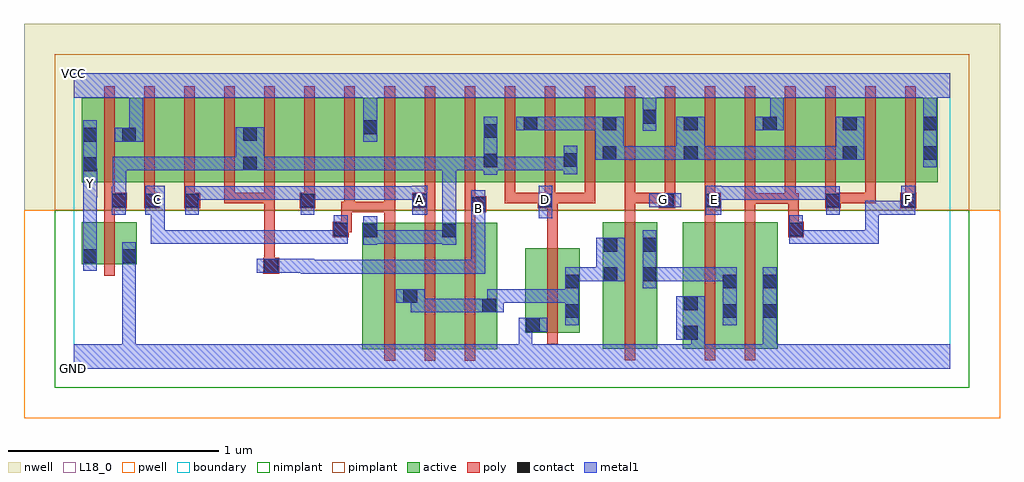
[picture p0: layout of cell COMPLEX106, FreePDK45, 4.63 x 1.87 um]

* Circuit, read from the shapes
.subckt COMPLEX106 A B C D E F G GND VCC Y
M1 GND n1 Y VSUBS nfet w=0.2u l=0.05u
M2 n2 C n1 VSUBS nfet w=0.6u l=0.05u
M3 n1 A n2 VSUBS nfet w=0.6u l=0.05u
M4 n2 B n1 VSUBS nfet w=0.6u l=0.05u
M5 n2 D GND VSUBS nfet w=0.4u l=0.05u
M6 n3 G n2 VSUBS nfet w=0.6u l=0.05u
M7 n3 E GND VSUBS nfet w=0.6u l=0.05u
M8 GND F n3 VSUBS nfet w=0.6u l=0.05u
M9 VCC n1 Y n4 pfet w=0.4u l=0.05u
M10 n5 C VCC n4 pfet w=0.4u l=0.05u
M11 n6 A n5 n4 pfet w=0.4u l=0.05u
M12 n1 B n6 n4 pfet w=0.4u l=0.05u
M13 n7 B n1 n4 pfet w=0.4u l=0.05u
M14 n8 A n7 n4 pfet w=0.4u l=0.05u
M15 VCC C n8 n4 pfet w=0.4u l=0.05u
M16 n9 C VCC n4 pfet w=0.4u l=0.05u
M17 n10 A n9 n4 pfet w=0.4u l=0.05u
M18 n1 B n10 n4 pfet w=0.4u l=0.05u
M19 n11 D n1 n4 pfet w=0.4u l=0.05u m=3
M20 VCC G n11 n4 pfet w=0.4u l=0.05u m=2
M21 n12 E n11 n4 pfet w=0.4u l=0.05u
M22 VCC F n12 n4 pfet w=0.4u l=0.05u
M23 n13 F VCC n4 pfet w=0.4u l=0.05u
M24 n11 E n13 n4 pfet w=0.4u l=0.05u
M25 n14 E n11 n4 pfet w=0.4u l=0.05u
M26 VCC F n14 n4 pfet w=0.4u l=0.05u
.ends

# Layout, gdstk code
import gdstk
lib = gdstk.Library(unit=1e-6, precision=1e-09)
def R(c, l, rs):  # rectangles x0, y0, x1, y1
    for r in rs: c.add(gdstk.rectangle(r[:2], r[2:], *l))
def A(c, l, x, y, w, h, nx, ny, dx, dy):  # array of equal rectangles
    R(c, l, [(x+i*dx, y+j*dy, x+i*dx+w, y+j*dy+h) for i in range(nx) for j in range(ny)])
active = (1, 0)
pwell = (2, 0)
nwell = (3, 0)
nimplant = (4, 0)
pimplant = (5, 0)
poly = (9, 0)
contact = (10, 0)
metal1 = (11, 0)
L18_0 = (18, 0)
boundary = (235, 0)

complex106 = lib.new_cell('COMPLEX106')
A(complex106, active, 0.455, 0.885, 0.19, 0.4, 3, 1, 0.57, 0)
A(complex106, active, 0.645, 0.885, 0.23, 0.4, 3, 1, 0.57, 0)
A(complex106, active, 3.115, 0.885, 0.225, 0.4, 3, 1, 0.38, 0)
R(complex106, active, [(1.37,0.092,1.635,0.692), (1.56,0.092,1.82,0.692), (1.745,0.092,2.01,0.692), (1.37,0.095,1.445,0.692), (1.56,0.095,1.635,0.647), (1.745,0.095,1.82,0.692), (1.935,0.095,2.01,0.692), (2.51,0.095,2.585,0.695), (2.51,0.095,2.77,0.695), (2.695,0.095,2.77,0.695), (2.89,0.095,2.965,0.695), (2.89,0.095,3.15,0.695), (3.075,0.095,3.34,0.695), (3.075,0.095,3.15,0.692), (3.265,0.095,3.34,0.695), (2.142,0.17,2.402,0.57), (2.142,0.17,2.217,0.57), (2.327,0.235,2.402,0.57), (0.04,0.495,0.115,0.695), (0.04,0.495,0.3,0.695), (0.225,0.495,0.3,0.695), (0.04,0.885,0.3,1.285), (0.04,0.885,0.115,1.2), (0.225,0.885,0.455,1.285), (0.8,0.885,1.025,1.285), (1.37,0.885,1.595,1.285), (1.94,0.885,2.205,1.285), (2.13,0.885,2.395,1.285), (2.32,0.885,2.58,1.285), (2.505,0.885,2.77,1.285), (2.695,0.885,2.965,1.285), (2.89,0.885,3.115,1.285), (3.265,0.885,3.495,1.285), (3.645,0.885,3.875,1.285), (4.025,0.885,4.1,1.205), (0.225,0.907,0.3,1.205), (0.8,0.907,0.875,1.2), (1.37,0.907,1.445,1.242), (1.94,0.907,2.015,1.2), (2.13,0.907,2.205,1.2), (2.32,0.907,2.395,1.07), (2.505,0.907,2.58,1.2), (2.695,0.907,2.77,1.267), (2.89,0.907,2.965,1.2), (3.265,0.907,3.34,1.242), (3.645,0.907,3.72,1.2)])
R(complex106, pwell, [(-0.235,-0.235,4.395,0.75)])
R(complex106, nwell, [(-0.235,0.75,4.395,1.635)])
R(complex106, nimplant, [(-0.09,-0.09,4.25,0.75)])
R(complex106, pimplant, [(-0.09,0.75,4.25,1.49)])
A(complex106, poly, 1.475, 0.037, 0.05, 0.71, 3, 1, 0.19, 0)
A(complex106, poly, 0.145, 0.785, 0.05, 0.095, 6, 1, 0.19, 0)
A(complex106, poly, 2.045, 0.785, 0.05, 0.095, 6, 1, 0.19, 0)
A(complex106, poly, 3.565, 0.785, 0.05, 0.095, 3, 1, 0.19, 0)
A(complex106, poly, 0.145, 0.83, 0.05, 0.51, 21, 1, 0.19, 0)
R(complex106, poly, [(2.615,0.04,2.665,0.75), (2.995,0.04,3.045,0.75), (3.185,0.04,3.235,0.75), (2.247,0.115,2.297,0.625), (0.145,0.44,0.195,0.75), (0.9,0.45,0.975,0.525), (0.905,0.475,0.955,0.835), (2.247,0.575,2.297,0.81), (1.23,0.622,1.305,0.697), (3.39,0.622,3.465,0.697), (1.255,0.647,1.305,0.697), (1.255,0.647,1.32,0.697), (1.27,0.647,1.32,0.792), (3.39,0.647,3.44,0.832), (1.475,0.697,1.525,0.792), (1.665,0.697,1.715,0.81), (1.855,0.697,1.905,0.792), (0.145,0.7,0.195,0.81), (2.615,0.7,2.665,0.835), (2.995,0.7,3.045,0.81), (3.185,0.7,3.235,0.832), (1.27,0.742,1.335,0.792), (1.285,0.742,1.335,0.792), (1.285,0.742,1.335,0.792), (1.285,0.742,1.525,0.792), (1.285,0.742,1.335,0.88), (1.475,0.742,1.525,0.792), (1.475,0.742,1.525,0.88), (1.855,0.742,1.957,0.817), (0.145,0.76,0.252,0.835), (0.335,0.76,0.41,0.835), (0.525,0.76,0.6,0.835), (1.072,0.76,1.147,0.835), (1.607,0.76,1.715,0.835), (2.202,0.76,2.297,0.835), (2.777,0.76,2.855,0.835), (2.995,0.76,3.07,0.835), (3.565,0.76,3.64,0.835), (3.922,0.76,3.997,0.835), (1.855,0.767,1.905,0.88), (3.185,0.782,3.235,0.832), (3.185,0.782,3.235,0.88), (3.185,0.782,3.425,0.832), (3.375,0.782,3.425,0.832), (3.375,0.782,3.425,0.832), (3.375,0.782,3.425,0.88), (3.375,0.782,3.44,0.832), (3.39,0.782,3.44,0.832), (3.39,0.782,3.44,0.832), (0.715,0.785,0.765,0.835), (0.715,0.785,0.765,0.835), (0.715,0.785,0.765,0.835), (0.715,0.785,0.955,0.835), (0.905,0.785,0.955,0.835), (0.905,0.785,0.955,0.835), (0.905,0.785,0.955,0.835), (1.665,0.785,1.715,0.88), (2.045,0.785,2.095,0.835), (2.045,0.785,2.095,0.835), (2.045,0.785,2.095,0.835), (2.045,0.785,2.252,0.835), (2.247,0.785,2.475,0.835), (2.425,0.785,2.475,0.835), (2.425,0.785,2.475,0.835), (2.425,0.785,2.475,0.835), (2.615,0.785,2.665,0.835), (2.615,0.785,2.827,0.835), (2.777,0.785,2.827,0.835), (2.777,0.785,2.827,0.835), (3.59,0.785,3.805,0.835), (3.59,0.785,3.64,0.835), (3.59,0.785,3.64,0.835), (3.755,0.785,3.805,0.835)])
A(complex106, contact, 3.27, 1.13, 0.065, 0.065, 3, 1, 0.38, 0)
R(complex106, contact, [(2.895,0.137,2.96,0.202), (2.147,0.175,2.212,0.24), (2.332,0.24,2.397,0.305), (3.08,0.24,3.145,0.305), (3.27,0.24,3.335,0.305), (1.94,0.267,2.005,0.332), (2.895,0.277,2.96,0.342), (1.565,0.312,1.63,0.377), (2.332,0.38,2.397,0.445), (3.08,0.38,3.145,0.445), (3.27,0.38,3.335,0.445), (2.515,0.415,2.58,0.48), (2.7,0.415,2.765,0.48), (0.905,0.455,0.97,0.52), (0.045,0.5,0.11,0.565), (0.23,0.5,0.295,0.565), (2.515,0.555,2.58,0.62), (2.7,0.555,2.765,0.62), (1.375,0.622,1.44,0.687), (1.75,0.622,1.815,0.687), (1.235,0.627,1.3,0.692), (3.395,0.627,3.46,0.692), (1.887,0.747,1.952,0.812), (0.182,0.765,0.247,0.83), (0.34,0.765,0.405,0.83), (0.53,0.765,0.595,0.83), (1.077,0.765,1.142,0.83), (1.612,0.765,1.677,0.83), (2.207,0.765,2.272,0.83), (2.782,0.765,2.847,0.83), (3,0.765,3.065,0.83), (3.57,0.765,3.635,0.83), (3.927,0.765,3.992,0.83), (0.045,0.937,0.11,1.002), (0.805,0.94,0.87,1.005), (1.945,0.955,2.01,1.02), (2.325,0.957,2.39,1.022), (2.51,0.99,2.575,1.055), (2.895,0.99,2.96,1.055), (3.65,0.99,3.715,1.055), (4.03,0.99,4.095,1.055), (0.045,1.077,0.11,1.142), (0.23,1.077,0.295,1.142), (0.805,1.08,0.87,1.145), (1.945,1.095,2.01,1.16), (1.375,1.112,1.44,1.177), (2.135,1.13,2.2,1.195), (2.51,1.13,2.575,1.195), (2.895,1.13,2.96,1.195), (2.7,1.162,2.765,1.227)])
R(complex106, metal1, [(0,0,4.16,0.115), (0.23,0.05,0.295,0.115), (0.23,0.05,0.295,0.115), (0.23,0.05,0.295,0.115), (0.23,0.05,0.295,0.115), (0.23,0.05,0.295,0.115), (0.23,0.05,0.295,0.115), (0.23,0.05,0.295,0.53), (2.112,0.05,2.177,0.115), (2.112,0.05,2.177,0.115), (2.112,0.05,2.177,0.24), (2.93,0.05,2.995,0.202), (3.27,0.05,3.335,0.27), (2.86,0.137,2.995,0.342), (2.112,0.175,2.247,0.24), (2.332,0.205,2.397,0.48), (3.08,0.205,3.145,0.48), (3.27,0.205,3.335,0.48), (1.6,0.267,1.815,0.332), (1.6,0.267,1.665,0.377), (1.75,0.267,1.815,0.332), (1.75,0.267,1.815,0.332), (1.75,0.267,1.815,0.332), (1.75,0.267,1.97,0.332), (1.905,0.267,2.04,0.332), (1.962,0.267,2.027,0.377), (1.53,0.312,1.665,0.377), (1.6,0.312,1.665,0.377), (1.962,0.312,2.027,0.377), (1.962,0.312,2.09,0.377), (2.025,0.312,2.227,0.377), (2.025,0.312,2.09,0.377), (2.162,0.312,2.227,0.377), (2.162,0.312,2.227,0.377), (2.162,0.312,2.227,0.377), (2.162,0.312,2.227,0.377), (2.162,0.312,2.227,0.377), (2.162,0.312,2.227,0.377), (2.162,0.312,2.227,0.377), (2.162,0.312,2.397,0.377), (2.7,0.38,2.765,0.655), (2.332,0.415,2.51,0.48), (2.445,0.415,2.545,0.48), (2.445,0.415,2.51,0.48), (2.48,0.415,2.615,0.62), (2.7,0.415,2.927,0.48), (2.862,0.415,2.927,0.48), (2.862,0.415,2.927,0.48), (2.862,0.415,2.927,0.48), (2.862,0.415,3.145,0.48), (3.08,0.415,3.145,0.48), (3.08,0.415,3.145,0.48), (1.077,0.45,1.142,0.515), (1.077,0.45,1.142,0.515), (1.077,0.45,1.142,0.515), (1.077,0.45,1.3,0.515), (1.077,0.45,1.142,0.52), (1.235,0.45,1.3,0.515), (1.235,0.45,1.302,0.515), (1.237,0.45,1.302,0.515), (1.237,0.45,1.457,0.515), (1.392,0.45,1.457,0.515), (1.392,0.45,1.457,0.515), (1.392,0.45,1.457,0.515), (1.392,0.45,1.677,0.515), (1.612,0.45,1.677,0.515), (1.612,0.45,1.677,0.515), (1.612,0.45,1.677,0.515), (1.612,0.45,1.815,0.515), (1.75,0.45,1.815,0.515), (1.75,0.45,1.815,0.515), (1.75,0.45,1.815,0.515), (1.75,0.45,1.915,0.515), (1.85,0.45,1.915,0.515), (1.85,0.45,1.952,0.515), (1.887,0.45,1.952,0.515), (1.887,0.45,1.952,0.757), (0.87,0.455,1.005,0.52), (0.94,0.455,1.142,0.52), (1.077,0.455,1.142,0.52), (0.045,0.465,0.11,0.6), (0.23,0.465,0.295,0.6), (0.045,0.535,0.11,0.877), (1.375,0.587,1.44,0.722), (1.75,0.587,1.815,0.722), (0.367,0.592,0.432,0.657), (0.367,0.592,0.432,0.795), (0.367,0.592,0.595,0.657), (0.53,0.592,0.732,0.657), (0.53,0.592,0.595,0.657), (0.53,0.592,0.595,0.657), (0.53,0.592,0.595,0.657), (0.667,0.592,0.732,0.657), (0.667,0.592,0.905,0.657), (0.84,0.592,0.905,0.657), (0.84,0.592,0.905,0.657), (0.84,0.592,0.905,0.657), (0.84,0.592,1.162,0.657), (1.097,0.592,1.162,0.657), (1.097,0.592,1.162,0.657), (1.097,0.592,1.162,0.657), (1.097,0.592,1.3,0.657), (1.235,0.592,1.3,0.657), (1.235,0.592,1.3,0.657), (1.235,0.592,1.3,0.657), (1.235,0.592,1.3,0.657), (1.235,0.592,1.3,0.727), (1.375,0.592,1.44,0.657), (1.375,0.592,1.44,0.657), (1.375,0.592,1.595,0.657), (1.53,0.592,1.595,0.657), (1.53,0.592,1.595,0.657), (1.53,0.592,1.595,0.657), (1.53,0.592,1.815,0.657), (3.395,0.592,3.597,0.657), (3.395,0.592,3.46,0.657), (3.395,0.592,3.46,0.657), (3.395,0.592,3.46,0.657), (3.395,0.592,3.46,0.657), (3.395,0.592,3.46,0.727), (3.532,0.592,3.597,0.657), (3.532,0.592,3.82,0.657), (3.755,0.592,3.82,0.657), (3.755,0.592,3.82,0.795), (1.75,0.657,1.815,1.005), (1.887,0.692,1.952,0.757), (1.887,0.692,1.952,0.757), (1.887,0.692,1.952,0.757), (1.887,0.692,1.952,0.757), (1.887,0.692,1.952,0.847), (2.207,0.712,2.272,0.867), (0.182,0.73,0.247,0.865), (0.34,0.73,0.432,0.867), (0.367,0.73,0.432,0.795), (0.367,0.73,0.432,0.795), (0.53,0.73,0.595,0.865), (1.077,0.73,1.142,0.865), (1.607,0.73,1.677,0.867), (3,0.73,3.072,0.867), (3.57,0.73,3.635,0.865), (3.755,0.73,3.957,0.795), (3.755,0.73,3.82,0.795), (3.755,0.73,3.82,0.795), (3.755,0.73,3.82,0.795), (3.892,0.73,3.992,0.795), (3.892,0.73,3.957,0.795), (3.927,0.73,3.992,0.867), (2.732,0.765,2.882,0.832), (0.182,0.8,0.25,0.865), (0.185,0.8,0.25,0.865), (0.185,0.8,0.25,1.005), (0.53,0.8,0.595,0.865), (0.53,0.8,0.595,0.865), (0.53,0.8,0.767,0.865), (0.702,0.8,0.767,0.865), (0.702,0.8,0.767,0.865), (0.702,0.8,0.767,0.865), (0.702,0.8,0.905,0.865), (0.84,0.8,0.905,0.865), (0.84,0.8,1.142,0.865), (1.077,0.8,1.142,0.865), (1.077,0.8,1.142,0.865), (1.077,0.8,1.302,0.865), (1.237,0.8,1.302,0.865), (1.237,0.8,1.302,0.865), (1.237,0.8,1.302,0.865), (1.237,0.8,1.44,0.865), (1.375,0.8,1.44,0.865), (1.375,0.8,1.44,0.865), (1.375,0.8,1.44,0.865), (1.375,0.8,1.672,0.865), (1.607,0.8,1.672,0.865), (1.607,0.8,1.672,0.865), (3.007,0.8,3.132,0.865), (3.067,0.8,3.132,0.865), (3.067,0.8,3.282,0.865), (3.217,0.8,3.282,0.865), (3.217,0.8,3.282,0.865), (3.217,0.8,3.282,0.865), (3.217,0.8,3.42,0.865), (3.355,0.8,3.42,0.865), (3.355,0.8,3.42,0.865), (3.355,0.8,3.42,0.865), (3.355,0.8,3.635,0.865), (0.045,0.812,0.112,0.947), (0.045,0.882,0.11,0.967), (0.045,0.902,0.11,1.177), (1.945,0.92,2.01,1.195), (2.325,0.922,2.39,1.057), (0.185,0.94,0.387,1.005), (0.185,0.94,0.25,1.005), (0.322,0.94,0.387,1.005), (0.322,0.94,0.387,1.005), (0.322,0.94,0.387,1.005), (0.322,0.94,0.595,1.005), (0.53,0.94,0.732,1.005), (0.53,0.94,0.595,1.005), (0.53,0.94,0.595,1.005), (0.53,0.94,0.595,1.005), (0.667,0.94,0.732,1.005), (0.667,0.94,0.835,1.005), (0.77,0.94,0.905,1.145), (0.84,0.94,0.905,1.005), (0.84,0.94,0.905,1.005), (0.84,0.94,1.142,1.005), (1.077,0.94,1.142,1.005), (1.077,0.94,1.142,1.005), (1.077,0.94,1.142,1.005), (1.077,0.94,1.302,1.005), (1.237,0.94,1.302,1.005), (1.237,0.94,1.302,1.005), (1.237,0.94,1.302,1.005), (1.237,0.94,1.457,1.005), (1.392,0.94,1.457,1.005), (1.392,0.94,1.457,1.005), (1.392,0.94,1.457,1.005), (1.392,0.94,1.595,1.005), (1.53,0.94,1.595,1.005), (1.53,0.94,1.595,1.005), (1.53,0.94,1.595,1.005), (1.53,0.94,1.815,1.005), (1.75,0.94,1.952,1.005), (1.75,0.94,1.815,1.005), (1.75,0.94,1.815,1.005), (1.75,0.94,1.815,1.005), (1.887,0.94,1.952,1.005), (1.887,0.94,2.01,1.005), (1.945,0.94,2.09,1.005), (2.025,0.94,2.09,1.005), (2.025,0.94,2.235,1.005), (2.17,0.94,2.235,1.005), (2.17,0.94,2.235,1.005), (2.17,0.94,2.235,1.005), (2.17,0.94,2.39,1.005), (4.03,0.955,4.095,1.23), (2.475,0.99,2.61,1.195), (2.545,0.99,2.61,1.055), (2.545,0.99,2.61,1.055), (2.545,0.99,2.647,1.055), (2.582,0.99,2.647,1.055), (2.582,0.99,2.785,1.055), (2.72,0.99,2.785,1.055), (2.72,0.99,2.785,1.055), (2.72,0.99,2.785,1.055), (2.72,0.99,2.925,1.055), (2.86,0.99,2.995,1.195), (2.93,0.99,3.065,1.055), (3,0.99,3.065,1.055), (3,0.99,3.132,1.055), (3.067,0.99,3.132,1.055), (3.067,0.99,3.282,1.055), (3.217,0.99,3.282,1.055), (3.217,0.99,3.282,1.055), (3.217,0.99,3.282,1.055), (3.217,0.99,3.42,1.055), (3.355,0.99,3.42,1.055), (3.355,0.99,3.42,1.055), (3.355,0.99,3.42,1.055), (3.355,0.99,3.68,1.055), (3.615,0.99,3.68,1.055), (3.615,0.99,3.68,1.055), (3.615,0.99,3.75,1.195), (0.195,1.077,0.33,1.142), (0.265,1.077,0.33,1.35), (1.375,1.077,1.44,1.212), (2.7,1.127,2.765,1.262), (2.1,1.13,2.235,1.195), (2.17,1.13,2.372,1.195), (2.307,1.13,2.372,1.195), (2.307,1.13,2.372,1.195), (2.307,1.13,2.372,1.195), (2.307,1.13,2.51,1.195), (2.445,1.13,2.51,1.195), (2.445,1.13,2.54,1.195), (3.235,1.13,3.37,1.195), (3.305,1.13,3.37,1.35), (1.375,1.147,1.44,1.35), (4.03,1.165,4.095,1.35), (2.7,1.197,2.765,1.35), (0,1.285,4.16,1.4)])
R(complex106, L18_0, [(0,0,4.16,0.115), (0.23,0.05,0.295,0.115), (0.23,0.05,0.295,0.115), (0.23,0.05,0.295,0.115), (0.23,0.05,0.295,0.115), (0.23,0.05,0.295,0.115), (0.23,0.05,0.295,0.115), (0.23,0.05,0.295,0.53), (2.112,0.05,2.177,0.115), (2.112,0.05,2.177,0.115), (2.112,0.05,2.177,0.24), (2.93,0.05,2.995,0.202), (3.27,0.05,3.335,0.27), (2.86,0.137,2.995,0.342), (2.112,0.175,2.247,0.24), (3.27,0.205,3.335,0.48), (1.077,0.45,1.142,0.515), (1.077,0.45,1.142,0.515), (1.077,0.45,1.142,0.515), (1.077,0.45,1.142,0.52), (1.077,0.45,1.3,0.515), (1.235,0.45,1.3,0.515), (1.235,0.45,1.302,0.515), (1.237,0.45,1.302,0.515), (1.237,0.45,1.457,0.515), (1.392,0.45,1.457,0.515), (1.392,0.45,1.457,0.515), (1.392,0.45,1.457,0.515), (1.392,0.45,1.677,0.515), (1.612,0.45,1.677,0.515), (1.612,0.45,1.677,0.515), (1.612,0.45,1.677,0.515), (1.612,0.45,1.815,0.515), (1.75,0.45,1.815,0.515), (1.75,0.45,1.815,0.515), (1.75,0.45,1.815,0.515), (1.75,0.45,1.915,0.515), (1.85,0.45,1.915,0.515), (1.85,0.45,1.952,0.515), (1.887,0.45,1.952,0.515), (1.887,0.45,1.952,0.757), (0.87,0.455,1.005,0.52), (0.94,0.455,1.142,0.52), (1.077,0.455,1.142,0.52), (0.045,0.465,0.11,0.6), (0.23,0.465,0.295,0.6), (0.045,0.535,0.11,0.877), (0.367,0.592,0.432,0.657), (0.367,0.592,0.432,0.795), (0.367,0.592,0.595,0.657), (0.53,0.592,0.595,0.657), (0.53,0.592,0.595,0.657), (0.53,0.592,0.595,0.657), (0.53,0.592,0.732,0.657), (0.667,0.592,0.732,0.657), (0.667,0.592,0.905,0.657), (0.84,0.592,0.905,0.657), (0.84,0.592,0.905,0.657), (0.84,0.592,0.905,0.657), (0.84,0.592,1.162,0.657), (1.097,0.592,1.162,0.657), (1.097,0.592,1.162,0.657), (1.097,0.592,1.162,0.657), (1.097,0.592,1.3,0.657), (1.235,0.592,1.3,0.727), (1.235,0.592,1.3,0.657), (1.235,0.592,1.3,0.657), (1.235,0.592,1.3,0.657), (1.235,0.592,1.3,0.657), (3.395,0.592,3.46,0.727), (3.395,0.592,3.46,0.657), (3.395,0.592,3.46,0.657), (3.395,0.592,3.46,0.657), (3.395,0.592,3.46,0.657), (3.395,0.592,3.597,0.657), (3.532,0.592,3.597,0.657), (3.532,0.592,3.82,0.657), (3.755,0.592,3.82,0.657), (3.755,0.592,3.82,0.795), (1.887,0.692,1.952,0.757), (1.887,0.692,1.952,0.757), (1.887,0.692,1.952,0.757), (1.887,0.692,1.952,0.757), (1.887,0.692,1.952,0.847), (2.207,0.712,2.272,0.867), (1.887,0.727,1.952,0.792), (0.34,0.73,0.432,0.867), (0.367,0.73,0.432,0.795), (0.367,0.73,0.432,0.795), (0.53,0.73,0.595,0.865), (1.077,0.73,1.142,0.865), (1.607,0.73,1.677,0.867), (3,0.73,3.072,0.867), (3.57,0.73,3.635,0.865), (3.755,0.73,3.82,0.795), (3.755,0.73,3.82,0.795), (3.755,0.73,3.82,0.795), (3.755,0.73,3.957,0.795), (3.892,0.73,3.957,0.795), (3.892,0.73,3.992,0.795), (3.927,0.73,3.992,0.867), (2.732,0.765,2.882,0.832), (0.367,0.767,0.432,0.832), (1.607,0.767,1.672,0.832), (2.207,0.767,2.272,0.832), (2.767,0.767,2.832,0.832), (3.007,0.767,3.072,0.832), (3.927,0.767,3.992,0.832), (0.53,0.8,0.595,0.865), (0.53,0.8,0.595,0.865), (0.53,0.8,0.767,0.865), (0.702,0.8,0.767,0.865), (0.702,0.8,0.767,0.865), (0.702,0.8,0.767,0.865), (0.702,0.8,0.905,0.865), (0.84,0.8,0.905,0.865), (0.84,0.8,1.142,0.865), (1.077,0.8,1.142,0.865), (1.077,0.8,1.142,0.865), (1.077,0.8,1.302,0.865), (1.237,0.8,1.302,0.865), (1.237,0.8,1.302,0.865), (1.237,0.8,1.302,0.865), (1.237,0.8,1.44,0.865), (1.375,0.8,1.44,0.865), (1.375,0.8,1.44,0.865), (1.375,0.8,1.44,0.865), (1.375,0.8,1.672,0.865), (1.607,0.8,1.672,0.865), (1.607,0.8,1.672,0.865), (3.007,0.8,3.132,0.865), (3.067,0.8,3.132,0.865), (3.067,0.8,3.282,0.865), (3.217,0.8,3.282,0.865), (3.217,0.8,3.282,0.865), (3.217,0.8,3.282,0.865), (3.217,0.8,3.42,0.865), (3.355,0.8,3.42,0.865), (3.355,0.8,3.42,0.865), (3.355,0.8,3.42,0.865), (3.355,0.8,3.635,0.865), (0.045,0.812,0.112,0.947), (0.047,0.847,0.112,0.912), (0.045,0.882,0.11,0.967), (0.045,0.902,0.11,1.177), (4.03,0.955,4.095,1.23), (0.195,1.077,0.33,1.142), (0.265,1.077,0.33,1.35), (1.375,1.077,1.44,1.212), (2.7,1.127,2.765,1.262), (3.235,1.13,3.37,1.195), (3.305,1.13,3.37,1.35), (1.375,1.147,1.44,1.35), (4.03,1.165,4.095,1.35), (2.7,1.197,2.765,1.35), (0,1.285,4.16,1.4)])
R(complex106, boundary, [(0,0,4.16,1.4)])
complex106.add(gdstk.Label('A', (1.64,0.8), layer=11, texttype=0))
complex106.add(gdstk.Label('B', (1.92,0.76), layer=11, texttype=0))
complex106.add(gdstk.Label('C', (0.4,0.8), layer=11, texttype=0))
complex106.add(gdstk.Label('D', (2.24,0.8), layer=11, texttype=0))
complex106.add(gdstk.Label('E', (3.04,0.8), layer=11, texttype=0))
complex106.add(gdstk.Label('F', (3.96,0.8), layer=11, texttype=0))
complex106.add(gdstk.Label('G', (2.8,0.8), layer=11, texttype=0))
complex106.add(gdstk.Label('Y', (0.08,0.88), layer=11, texttype=0))
complex106.add(gdstk.Label('VCC', (0,1.4), layer=11, texttype=0))
complex106.add(gdstk.Label('GND', (0,0), layer=11, texttype=0))

lib.write_gds('COMPLEX106.gds')
